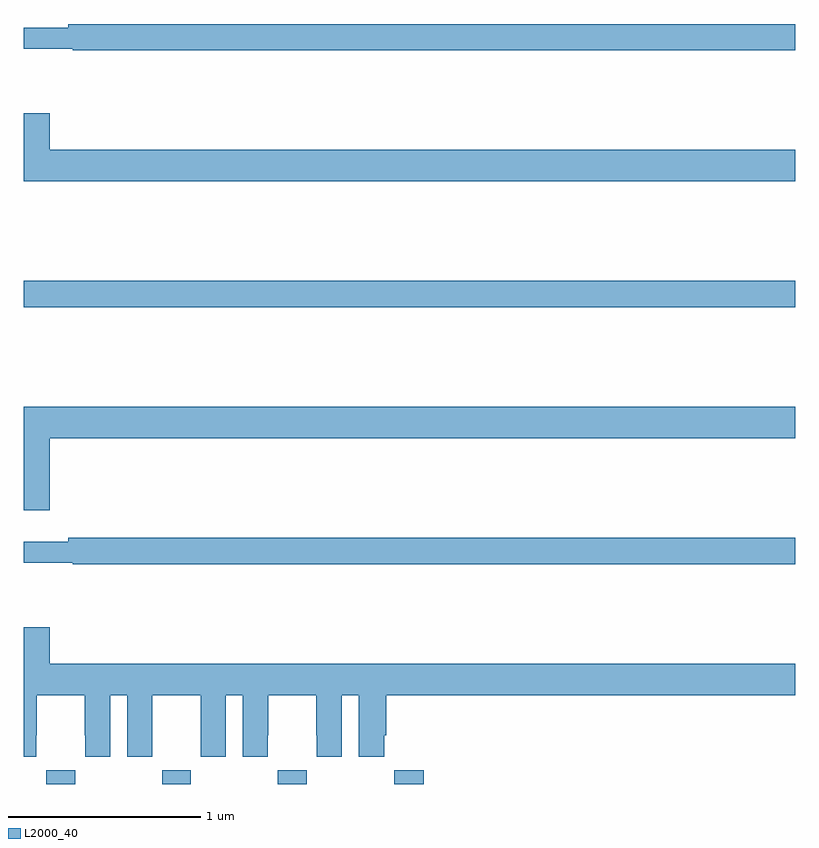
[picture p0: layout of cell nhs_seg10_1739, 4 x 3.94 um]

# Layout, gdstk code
import gdstk
lib = gdstk.Library(unit=1e-6, precision=1e-09)
def R(c, l, rs):  # rectangles x0, y0, x1, y1
    for r in rs: c.add(gdstk.rectangle(r[:2], r[2:], *l))
def A(c, l, x, y, w, h, nx, ny, dx, dy):  # array of equal rectangles
    R(c, l, [(x+i*dx, y+j*dy, x+i*dx+w, y+j*dy+h) for i in range(nx) for j in range(ny)])
def P(c, l, *ps):  # polygons
    for p in ps: c.add(gdstk.Polygon(p, *l))
L2000_40 = (2000, 40)

nhs_seg10_1739 = lib.new_cell('nhs_seg10_1739')
A(nhs_seg10_1739, L2000_40, 201.117, 1322.5, 0.15, 0.072, 3, 1, 0.6, 0)
R(nhs_seg10_1739, L2000_40, [(202.921,1322.5,203.075,1322.572), (201,1324.972,205,1325.108)])
P(nhs_seg10_1739, L2000_40, [(205,1326.44),(201.232,1326.44),(201.232,1326.421),(201,1326.421),(201,1326.312),(201.255,1326.312),(201.255,1326.304),(205,1326.304)],
  [(205,1325.788),(201.136,1325.788),(201.136,1325.977),(201,1325.977),(201,1325.624),(205,1325.624)],
  [(201.136,1324.292),(205,1324.292),(205,1324.456),(201,1324.456),(201,1323.918),(201.136,1323.918)],
  [(205,1323.776),(201.232,1323.776),(201.232,1323.757),(201,1323.757),(201,1323.648),(201.255,1323.648),(201.255,1323.64),(205,1323.64)],
  [(201.136,1323.313),(201,1323.313),(201,1322.64),(201.066,1322.64),(201.066,1322.752),(201.067,1322.752),(201.067,1322.96),(201.317,1322.96),(201.317,1322.752),(201.318,1322.752),(201.318,1322.64),(201.448,1322.64),(201.448,1322.96),(201.536,1322.96),(201.536,1322.64),(201.666,1322.64),(201.666,1322.752),(201.667,1322.752),(201.667,1322.96),(201.917,1322.96),(201.917,1322.752),(201.918,1322.752),(201.918,1322.64),(202.048,1322.64),(202.048,1322.96),(202.136,1322.96),(202.136,1322.64),(202.266,1322.64),(202.266,1322.752),(202.267,1322.752),(202.267,1322.96),(202.517,1322.96),(202.517,1322.752),(202.518,1322.752),(202.518,1322.64),(202.648,1322.64),(202.648,1322.96),(202.736,1322.96),(202.736,1322.64),(202.87,1322.64),(202.87,1322.752),(202.88,1322.752),(202.88,1322.96),(205,1322.96),(205,1323.124),(201.136,1323.124)])

lib.write_gds('nhs_seg10_1739.gds')
